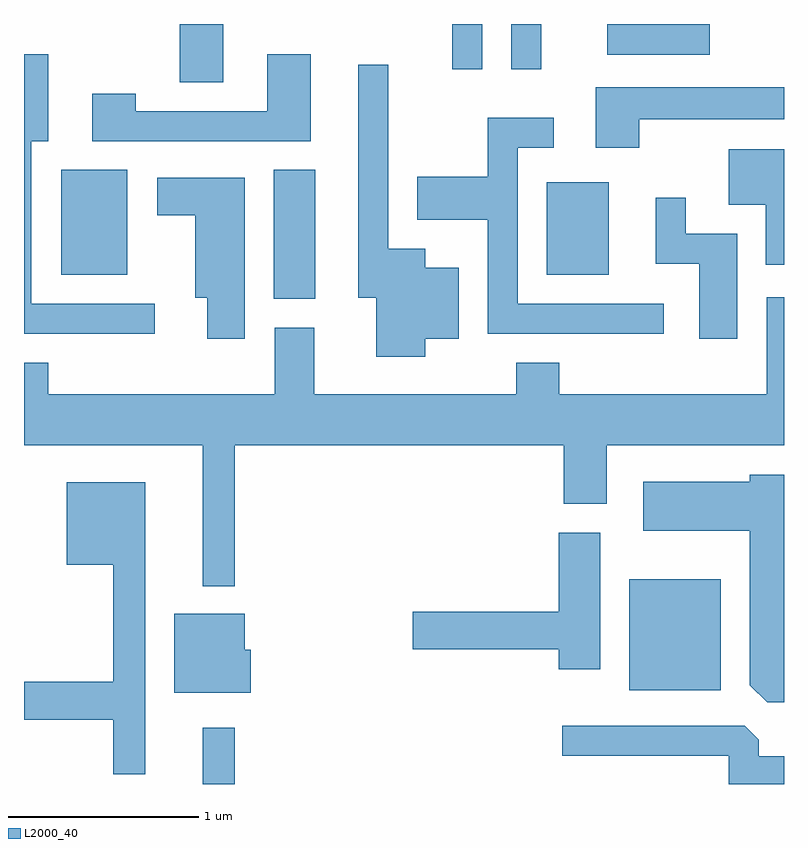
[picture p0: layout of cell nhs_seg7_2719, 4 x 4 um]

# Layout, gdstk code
import gdstk
lib = gdstk.Library(unit=1e-6, precision=1e-09)
def R(c, l, rs):  # rectangles x0, y0, x1, y1
    for r in rs: c.add(gdstk.rectangle(r[:2], r[2:], *l))
def P(c, l, *ps):  # polygons
    for p in ps: c.add(gdstk.Polygon(p, *l))
L2000_40 = (2000, 40)

nhs_seg7_2719 = lib.new_cell('nhs_seg7_2719')
R(nhs_seg7_2719, L2000_40, [(268.551,1770.252,268.719,1770.548), (270.796,1770.746,271.279,1771.329), (268.926,1772.806,269.144,1773.484), (267.806,1772.931,268.154,1773.484), (270.361,1772.931,270.689,1773.419), (268.431,1773.946,268.659,1774.252), (269.866,1774.013,270.024,1774.252), (270.176,1774.013,270.334,1774.252), (270.681,1774.091,271.219,1774.252)])
P(nhs_seg7_2719, L2000_40, [(268.298,1772.779),(267.649,1772.779),(267.649,1773.636),(267.739,1773.636),(267.739,1774.094),(267.611,1774.094),(267.611,1772.621),(268.298,1772.621)],
  [(269.119,1774.094),(268.891,1774.094),(268.891,1773.794),(268.199,1773.794),(268.199,1773.884),(267.971,1773.884),(267.971,1773.636),(269.119,1773.636)],
  [(269.724,1772.596),(269.899,1772.596),(269.899,1772.969),(269.724,1772.969),(269.724,1773.069),(269.529,1773.069),(269.529,1774.038),(269.371,1774.038),(269.371,1772.811),(269.466,1772.811),(269.466,1772.501),(269.724,1772.501)],
  [(270.849,1773.751),(271.611,1773.751),(271.611,1773.919),(270.621,1773.919),(270.621,1773.601),(270.849,1773.601)],
  [(270.978,1772.779),(270.209,1772.779),(270.209,1773.601),(270.398,1773.601),(270.398,1773.759),(270.051,1773.759),(270.051,1773.449),(269.681,1773.449),(269.681,1773.221),(270.051,1773.221),(270.051,1772.621),(270.978,1772.621)],
  [(271.611,1773.594),(271.321,1773.594),(271.321,1773.301),(271.516,1773.301),(271.516,1772.986),(271.611,1772.986)],
  [(268.774,1773.444),(268.311,1773.444),(268.311,1773.246),(268.511,1773.246),(268.511,1772.811),(268.576,1772.811),(268.576,1772.596),(268.774,1772.596)],
  [(271.364,1773.149),(271.094,1773.149),(271.094,1773.338),(270.936,1773.338),(270.936,1772.991),(271.166,1772.991),(271.166,1772.596),(271.364,1772.596)],
  [(268.719,1772.036),(270.451,1772.036),(270.451,1771.726),(270.679,1771.726),(270.679,1772.036),(271.611,1772.036),(271.611,1772.813),(271.521,1772.813),(271.521,1772.304),(270.429,1772.304),(270.429,1772.469),(270.201,1772.469),(270.201,1772.304),(269.139,1772.304),(269.139,1772.654),(268.931,1772.654),(268.931,1772.304),(267.739,1772.304),(267.739,1772.469),(267.611,1772.469),(267.611,1772.036),(268.551,1772.036),(268.551,1771.293),(268.719,1771.293)],
  [(271.611,1771.879),(271.431,1771.879),(271.431,1771.844),(270.871,1771.844),(270.871,1771.586),(271.431,1771.586),(271.431,1770.772),(271.522,1770.681),(271.611,1770.681)],
  [(268.249,1771.839),(267.836,1771.839),(267.836,1771.406),(268.081,1771.406),(268.081,1770.789),(267.611,1770.789),(267.611,1770.591),(268.081,1770.591),(268.081,1770.303),(268.249,1770.303)],
  [(270.644,1771.574),(270.426,1771.574),(270.426,1771.159),(269.656,1771.159),(269.656,1770.961),(270.426,1770.961),(270.426,1770.856),(270.644,1770.856)],
  [(268.804,1770.959),(268.774,1770.959),(268.774,1771.149),(268.401,1771.149),(268.401,1770.731),(268.804,1770.731)],
  [(271.611,1770.399),(271.479,1770.399),(271.479,1770.484),(271.404,1770.559),(270.443,1770.559),(270.443,1770.401),(271.321,1770.401),(271.321,1770.252),(271.611,1770.252)])

lib.write_gds('nhs_seg7_2719.gds')
